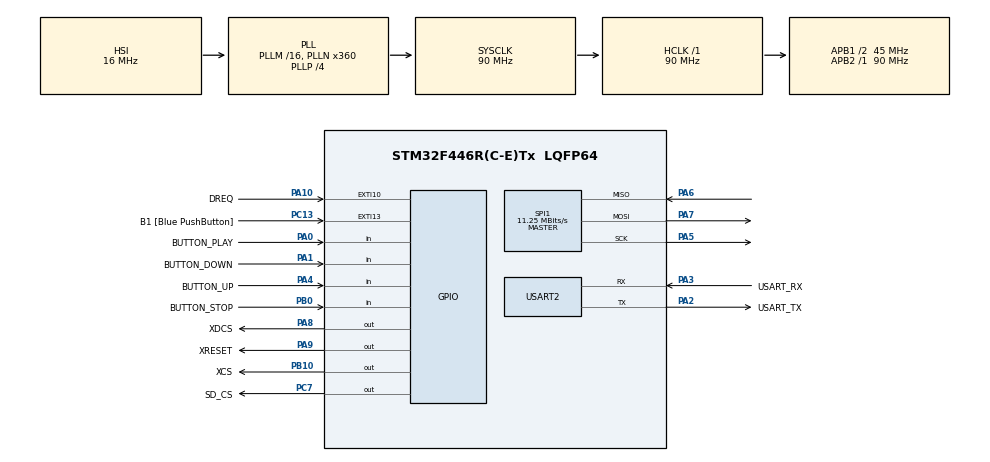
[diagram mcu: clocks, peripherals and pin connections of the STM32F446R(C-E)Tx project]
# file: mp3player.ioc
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FATFS._CODE_PAGE=949
Mcu.Family=STM32F4
Mcu.Name=STM32F446R(C-E)Tx
Mcu.Package=LQFP64
NVIC.EXTI15_10_IRQn=true\:0\:0\:false\:false\:true\:true\:true
NVIC.PriorityGroup=NVIC_PRIORITYGROUP_0
PA0-WKUP.GPIO_Label=BUTTON_PLAY
PA0-WKUP.Signal=GPIO_Input
PA1.GPIO_Label=BUTTON_DOWN
PA1.Signal=GPIO_Input
PA10.GPIO_Label=DREQ
PA10.GPIO_ModeDefaultEXTI=GPIO_MODE_IT_RISING_FALLING
PA10.Signal=GPXTI10
PA13.GPIO_Label=TMS
PA13.Signal=SYS_JTMS-SWDIO
PA14.GPIO_Label=TCK
PA14.Signal=SYS_JTCK-SWCLK
PA2.GPIO_Label=USART_TX
PA2.Mode=Asynchronous
PA2.Signal=USART2_TX
PA3.GPIO_Label=USART_RX
PA3.Mode=Asynchronous
PA3.Signal=USART2_RX
PA4.GPIO_Label=BUTTON_UP
PA4.Signal=GPIO_Input
PA5.Mode=Full_Duplex_Master
PA5.Signal=SPI1_SCK
PA6.Mode=Full_Duplex_Master
PA6.Signal=SPI1_MISO
PA7.Mode=Full_Duplex_Master
PA7.Signal=SPI1_MOSI
PA8.GPIO_Label=XDCS
PA8.Signal=GPIO_Output
PA9.GPIO_Label=XRESET
PA9.Signal=GPIO_Output
PB0.GPIO_Label=BUTTON_STOP
PB0.Signal=GPIO_Input
PB10.GPIO_Label=XCS
PB10.Signal=GPIO_Output
PB3.GPIO_Label=SWO
PB3.Signal=SYS_JTDO-SWO
PC13.GPIO_Label=B1 [Blue PushButton]
PC13.GPIO_ModeDefaultEXTI=GPIO_MODE_IT_FALLING
PC13.Signal=GPXTI13
PC14-OSC32_IN.Signal=RCC_OSC32_IN
PC15-OSC32_OUT.Signal=RCC_OSC32_OUT
PC7.GPIO_Label=SD_CS
PC7.PinState=GPIO_PIN_SET
PC7.Signal=GPIO_Output
PH0-OSC_IN.Signal=RCC_OSC_IN
PH1-OSC_OUT.Signal=RCC_OSC_OUT
ProjectManager.HeapSize=0x200
ProjectManager.StackSize=0x400
ProjectManager.TargetToolchain=STM32CubeIDE
RCC.AHBFreq_Value=90000000
RCC.APB1CLKDivider=RCC_HCLK_DIV2
RCC.APB1Freq_Value=45000000
RCC.APB1TimFreq_Value=90000000
RCC.APB2Freq_Value=90000000
RCC.APB2TimFreq_Value=90000000
RCC.CortexFreq_Value=90000000
RCC.FLatency-AdvancedSettings=FLASH_LATENCY_2
RCC.HCLKFreq_Value=90000000
RCC.HSE_VALUE=8000000
RCC.HSI_VALUE=16000000
RCC.LSE_VALUE=32768
RCC.PLLN=360
RCC.PLLP=RCC_PLLP_DIV4
RCC.SYSCLKFreq_VALUE=90000000
RCC.SYSCLKSource=RCC_SYSCLKSOURCE_PLLCLK
RCC.USBFreq_Value=180000000
RCC.VCOOutputFreq_Value=360000000
SPI1.BaudRatePrescaler=SPI_BAUDRATEPRESCALER_8
SPI1.CalculateBaudRate=11.25 MBits/s
SPI1.Direction=SPI_DIRECTION_2LINES
SPI1.Mode=SPI_MODE_MASTER
SPI1.VirtualType=VM_MASTER
USART2.VirtualMode=VM_ASYNC
VP_FATFS_VS_Generic.Mode=User_defined
board=NUCLEO-F446RE

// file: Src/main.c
/* USER CODE BEGIN Header */
/**
  ******************************************************************************
  * @file           : main.c
  * @brief          : Main program body
  ******************************************************************************
  * @attention
  *
  * <h2><center>&copy; Copyright (c) 2019 STMicroelectronics.
  * All rights reserved.</center></h2>
  *
  * This software component is licensed by ST under BSD 3-Clause license,
  * the "License"; You may not use this file except in compliance with the
  * License. You may obtain a copy of the License at:
  *                        opensource.org/licenses/BSD-3-Clause
  *
  ******************************************************************************
  */
/* USER CODE END Header */

#include "main.h"
#include "fatfs.h"

/* USER CODE BEGIN Includes */
#define U8X8_USE_PINS
#include "u8g2.h"
#include "filemanager.h"
#include "player.h"
/* USER CODE END Includes */

/* USER CODE BEGIN PM */
//#define BUTTON_PLAY     A0
//#define BUTTON_DOWN     A1
//#define BUTTON_UP       A2
//#define BUTTON_STOP     A3
/* USER CODE END PM */

SPI_HandleTypeDef hspi1;

UART_HandleTypeDef huart2;

/* USER CODE BEGIN PV */
/* Private variables ---------------------------------------------------------*/
FATFS fs;

typedef enum {
  FILE_MODE,
  PLAY_MODE
} run_state;

u8g2_t u8g2;

DIR curDir;
uint8_t curSel = 1;
char title[31], album[31], artist[31];
char title8[40], album8[40], artist8[40];
int tlen, txpos=128;
int sec, seconds;
unsigned long timeVal;
char timebuf[10]="00:00";
run_state rstate = FILE_MODE;
int volume = 50;

/* USER CODE END PV */

void SystemClock_Config(void);
static void MX_GPIO_Init(void);
static void MX_SPI1_Init(void);
static void MX_USART2_UART_Init(void);
/* USER CODE BEGIN PFP */
#ifdef __GNUC__
  /* With GCC/RAISONANCE, small printf (option LD Linker->Libraries->Small printf
     set to 'Yes') calls __io_putchar() */
  #define PUTCHAR_PROTOTYPE int __io_putchar(int ch)
#else
  #define PUTCHAR_PROTOTYPE int fputc(int ch, FILE *f)
#endif /* __GNUC__ */

uint8_t u8x8_gpio_and_delay_stm32_sw_i2c(u8x8_t *u8x8, uint8_t msg, uint8_t arg_int, void *arg_ptr);
/* USER CODE END PFP */

int main(void)
{

  /* MCU Configuration--------------------------------------------------------*/

  /* Reset of all peripherals, Initializes the Flash interface and the Systick. */
  HAL_Init();

  /* Configure the system clock */
  SystemClock_Config();

  /* Initialize all configured peripherals */
  MX_GPIO_Init();
  MX_SPI1_Init();
  MX_USART2_UART_Init();
  MX_FATFS_Init();
  /* USER CODE BEGIN 2 */

  /* Wait for SD module reset */
  HAL_Delay(500);

  /* Setup U8G2 for SSD1306 I2C Module */
  u8g2_Setup_ssd1306_i2c_128x64_noname_f(&u8g2, U8G2_R0, u8x8_byte_sw_i2c, u8x8_gpio_and_delay_stm32_sw_i2c);
  u8g2_InitDisplay(&u8g2);
  u8g2_SetPowerSave(&u8g2, 0);
  u8g2_SetMenuSelectPin(&u8g2, U8X8_PIN_MENU_SELECT);
  u8g2_SetMenuDownPin(&u8g2, U8X8_PIN_MENU_DOWN);
  u8g2_SetMenuUpPin(&u8g2, U8X8_PIN_MENU_UP);
  u8g2_SetMenuHomePin(&u8g2, U8X8_PIN_MENU_HOME);

  u8g2_SetFont(&u8g2, u8g2_font_unifont_t_korean2);
  //u8g2_SetFont(&u8g1, u8g2_font_unifont_t_korean_NanumGothicCoding_16);
  u8g2_SetFontDirection(&u8g2, 0);

  /* Initialize VS1053 MP3 Module */
  player_init();
  printf("VS1053 found\n");

  player_sinetest(0x44, 500);    // Make a tone to indicate VS1053 is working
  timeVal = HAL_GetTick();

  /* Mount SD Card */
  if(f_mount(&fs, "", 0) != FR_OK)
    Error_Handler();

  /* List files */
  f_opendir(&curDir, curDirPath);
  printDirectory(&curDir, 0);
  f_rewinddir(&curDir);

  /* Set volume for left, right channels. lower numbers == louder volume! */
  vs10xx_set_volume(volume);

  /* USER CODE END 2 */

  /* Infinite loop */
  while (1)
  {

    /* USER CODE BEGIN 3 */

    if (rstate == FILE_MODE) {
      /* When File Mode, display file list on OLED */
      int filecount = getFileList(&curDir);
      curSel = u8g2_UserInterfaceSelectionList(&u8g2, curDirPath, curSel, fileNameList);
      if (curSel == 0) { // Move to Prev/Up directory
        f_closedir(&curDir);
        char *last = strrchr(curDirPath, '/');
        if (last != NULL) last[last!=curDirPath?0:1] = '\0';
        f_opendir(&curDir, curDirPath);
      }
      else {
        /* Select a File */
        strcpy(curFilePath,curDirPath);
        if (strcmp(curFilePath, "/"))
          strcat(curFilePath,"/");
        strcat(curFilePath,fileList[curSel-1]);

        FILINFO finfo;
        f_stat(curFilePath, &finfo);
        if (finfo.fattrib & AM_DIR) { // Go to the subdirectory
          f_closedir(&curDir);
          strcpy(curDirPath, curFilePath);
          f_opendir(&curDir, curDirPath);
          curSel = 1;
        } else {
          /* Select the mp3 file and change to play mode */
          if (strstr(finfo.fname, ".mp3") || strstr(finfo.fname, ".MP3")) {
            FIL curFile;
            f_open(&curFile, finfo.fname, FA_READ);
            getID3(&curFile, title, artist, album);
            ucs_to_utf8(title, title8);
            ucs_to_utf8(artist, artist8);
            ucs_to_utf8(album, album8);
            tlen = strlen(title8);
            seconds = getMP3Info(&curFile);
            printf("%s %s %s\n", title8, artist8, album8);
            printf("%d...\n", seconds);
            f_close(&curFile);
            player_play(curFilePath);
            rstate = PLAY_MODE;
            sec = 0;
          }
        }
      }
      HAL_Delay(100);
    }

    else {
      /* When Play Mode, The File is playing in the background */
      if (HAL_GetTick() - timeVal >= 1000) {
        sec++;
        sprintf(timebuf,"%02d:%02d", sec/60, sec%60);
        timeVal = HAL_GetTick();
      }
      if (playerState == PS_PAUSE)
        timeVal = HAL_GetTick();

      /* Display artist, album, song title on OLED */
      txpos = (txpos+tlen*8>0)?txpos-5:128;
      u8g2_FirstPage(&u8g2);
      do {
        u8g2_DrawUTF8(&u8g2, 0, 15, "Playing...");
        u8g2_DrawUTF8(&u8g2, 0, 30, artist8);
        u8g2_DrawUTF8(&u8g2, 60, 30, album8);
        u8g2_DrawUTF8(&u8g2, txpos, 45, title8);
        u8g2_DrawRFrame(&u8g2, 0,50,80,10,1);
        u8g2_DrawBox(&u8g2, 0,50,(80.0*sec/seconds),10);
        u8g2_DrawUTF8(&u8g2, 84, 60, timebuf);
      } while ( u8g2_NextPage(&u8g2) );

      if (playerState == PS_STOP) {
        printf("Done playing music\n");
        HAL_Delay(10);  // we're done! do nothing...
        rstate = FILE_MODE;
      }

      /* if we get BUTTON_STOP, stop! */
      if (!HAL_GPIO_ReadPin(BUTTON_STOP_GPIO_Port, BUTTON_STOP_Pin)) {
        player_stop();
        rstate = FILE_MODE;
      }

      /* if we get BUTTON_PLAY, pause/unpause! */
      if (!HAL_GPIO_ReadPin(BUTTON_PLAY_GPIO_Port, BUTTON_PLAY_Pin)) {
        if (playerState == PS_PLAY) {
          printf("Paused\n");
          player_pause(TRUE);
        } else if (playerState == PS_PAUSE) {
          printf("Resumed\n");
          player_pause(FALSE);
        }
      }

      /* if we get BUTTON_UP, volume up! */
      if (!HAL_GPIO_ReadPin(BUTTON_UP_GPIO_Port, BUTTON_UP_Pin)) {
        // Set volume for left, right channels. lower numbers == louder volume!
        volume -= 5;
        if (volume < 0) volume = 0;
        vs10xx_set_volume(volume);
      }

      /* if we get BUTTON_DOWN, volume down! */
      if (!HAL_GPIO_ReadPin(BUTTON_DOWN_GPIO_Port, BUTTON_DOWN_Pin)) {
        // Set volume for left, right channels. lower numbers == louder volume!
        volume += 5;
        if (volume > 100) volume = 100;
        vs10xx_set_volume(volume);
      }
      HAL_Delay(100);
    }

  }
  /* USER CODE END 3 */
}

void SystemClock_Config(void)
{
  RCC_OscInitTypeDef RCC_OscInitStruct = {0};
  RCC_ClkInitTypeDef RCC_ClkInitStruct = {0};

  /** Configure the main internal regulator output voltage
  */
  __HAL_RCC_PWR_CLK_ENABLE();
  __HAL_PWR_VOLTAGESCALING_CONFIG(PWR_REGULATOR_VOLTAGE_SCALE3);
  /** Initializes the CPU, AHB and APB busses clocks
  */
  RCC_OscInitStruct.OscillatorType = RCC_OSCILLATORTYPE_HSI;
  RCC_OscInitStruct.HSIState = RCC_HSI_ON;
  RCC_OscInitStruct.HSICalibrationValue = RCC_HSICALIBRATION_DEFAULT;
  RCC_OscInitStruct.PLL.PLLState = RCC_PLL_ON;
  RCC_OscInitStruct.PLL.PLLSource = RCC_PLLSOURCE_HSI;
  RCC_OscInitStruct.PLL.PLLM = 16;
  RCC_OscInitStruct.PLL.PLLN = 360;
  RCC_OscInitStruct.PLL.PLLP = RCC_PLLP_DIV4;
  RCC_OscInitStruct.PLL.PLLQ = 2;
  RCC_OscInitStruct.PLL.PLLR = 2;
  if (HAL_RCC_OscConfig(&RCC_OscInitStruct) != HAL_OK)
  {
    Error_Handler();
  }
  /** Initializes the CPU, AHB and APB busses clocks
  */
  RCC_ClkInitStruct.ClockType = RCC_CLOCKTYPE_HCLK|RCC_CLOCKTYPE_SYSCLK
                              |RCC_CLOCKTYPE_PCLK1|RCC_CLOCKTYPE_PCLK2;
  RCC_ClkInitStruct.SYSCLKSource = RCC_SYSCLKSOURCE_PLLCLK;
  RCC_ClkInitStruct.AHBCLKDivider = RCC_SYSCLK_DIV1;
  RCC_ClkInitStruct.APB1CLKDivider = RCC_HCLK_DIV2;
  RCC_ClkInitStruct.APB2CLKDivider = RCC_HCLK_DIV1;

  if (HAL_RCC_ClockConfig(&RCC_ClkInitStruct, FLASH_LATENCY_2) != HAL_OK)
  {
    Error_Handler();
  }
}

static void MX_SPI1_Init(void)
{

  /* SPI1 parameter configuration*/
  hspi1.Instance = SPI1;
  hspi1.Init.Mode = SPI_MODE_MASTER;
  hspi1.Init.Direction = SPI_DIRECTION_2LINES;
  hspi1.Init.DataSize = SPI_DATASIZE_8BIT;
  hspi1.Init.CLKPolarity = SPI_POLARITY_LOW;
  hspi1.Init.CLKPhase = SPI_PHASE_1EDGE;
  hspi1.Init.NSS = SPI_NSS_SOFT;
  hspi1.Init.BaudRatePrescaler = SPI_BAUDRATEPRESCALER_8;
  hspi1.Init.FirstBit = SPI_FIRSTBIT_MSB;
  hspi1.Init.TIMode = SPI_TIMODE_DISABLE;
  hspi1.Init.CRCCalculation = SPI_CRCCALCULATION_DISABLE;
  hspi1.Init.CRCPolynomial = 10;
  if (HAL_SPI_Init(&hspi1) != HAL_OK)
  {
    Error_Handler();
  }

}

static void MX_USART2_UART_Init(void)
{

  huart2.Instance = USART2;
  huart2.Init.BaudRate = 115200;
  huart2.Init.WordLength = UART_WORDLENGTH_8B;
  huart2.Init.StopBits = UART_STOPBITS_1;
  huart2.Init.Parity = UART_PARITY_NONE;
  huart2.Init.Mode = UART_MODE_TX_RX;
  huart2.Init.HwFlowCtl = UART_HWCONTROL_NONE;
  huart2.Init.OverSampling = UART_OVERSAMPLING_16;
  if (HAL_UART_Init(&huart2) != HAL_OK)
  {
    Error_Handler();
  }

}

static void MX_GPIO_Init(void)
{
  GPIO_InitTypeDef GPIO_InitStruct = {0};

  /* GPIO Ports Clock Enable */
  __HAL_RCC_GPIOC_CLK_ENABLE();
  __HAL_RCC_GPIOH_CLK_ENABLE();
  __HAL_RCC_GPIOA_CLK_ENABLE();
  __HAL_RCC_GPIOB_CLK_ENABLE();

  /*Configure GPIO pin Output Level */
  HAL_GPIO_WritePin(XCS_GPIO_Port, XCS_Pin, GPIO_PIN_RESET);

  /*Configure GPIO pin Output Level */
  HAL_GPIO_WritePin(SD_CS_GPIO_Port, SD_CS_Pin, GPIO_PIN_SET);

  /*Configure GPIO pin Output Level */
  HAL_GPIO_WritePin(GPIOA, XDCS_Pin|XRESET_Pin, GPIO_PIN_RESET);

  /*Configure GPIO pin : B1_Pin */
  GPIO_InitStruct.Pin = B1_Pin;
  GPIO_InitStruct.Mode = GPIO_MODE_IT_FALLING;
  GPIO_InitStruct.Pull = GPIO_NOPULL;
  HAL_GPIO_Init(B1_GPIO_Port, &GPIO_InitStruct);

  /*Configure GPIO pins : BUTTON_PLAY_Pin BUTTON_DOWN_Pin BUTTON_UP_Pin */
  GPIO_InitStruct.Pin = BUTTON_PLAY_Pin|BUTTON_DOWN_Pin|BUTTON_UP_Pin;
  GPIO_InitStruct.Mode = GPIO_MODE_INPUT;
  GPIO_InitStruct.Pull = GPIO_NOPULL;
  HAL_GPIO_Init(GPIOA, &GPIO_InitStruct);

  /*Configure GPIO pin : BUTTON_STOP_Pin */
  GPIO_InitStruct.Pin = BUTTON_STOP_Pin;
  GPIO_InitStruct.Mode = GPIO_MODE_INPUT;
  GPIO_InitStruct.Pull = GPIO_NOPULL;
  HAL_GPIO_Init(BUTTON_STOP_GPIO_Port, &GPIO_InitStruct);

  /*Configure GPIO pin : XCS_Pin */
  GPIO_InitStruct.Pin = XCS_Pin;
  GPIO_InitStruct.Mode = GPIO_MODE_OUTPUT_PP;
  GPIO_InitStruct.Pull = GPIO_NOPULL;
  GPIO_InitStruct.Speed = GPIO_SPEED_FREQ_LOW;
  HAL_GPIO_Init(XCS_GPIO_Port, &GPIO_InitStruct);

  /*Configure GPIO pin : SD_CS_Pin */
  GPIO_InitStruct.Pin = SD_CS_Pin;
  GPIO_InitStruct.Mode = GPIO_MODE_OUTPUT_PP;
  GPIO_InitStruct.Pull = GPIO_NOPULL;
  GPIO_InitStruct.Speed = GPIO_SPEED_FREQ_LOW;
  HAL_GPIO_Init(SD_CS_GPIO_Port, &GPIO_InitStruct);

  /*Configure GPIO pins : XDCS_Pin XRESET_Pin */
  GPIO_InitStruct.Pin = XDCS_Pin|XRESET_Pin;
  GPIO_InitStruct.Mode = GPIO_MODE_OUTPUT_PP;
  GPIO_InitStruct.Pull = GPIO_NOPULL;
  GPIO_InitStruct.Speed = GPIO_SPEED_FREQ_LOW;
  HAL_GPIO_Init(GPIOA, &GPIO_InitStruct);

  /*Configure GPIO pin : DREQ_Pin */
  GPIO_InitStruct.Pin = DREQ_Pin;
  GPIO_InitStruct.Mode = GPIO_MODE_IT_RISING_FALLING;
  GPIO_InitStruct.Pull = GPIO_NOPULL;
  HAL_GPIO_Init(DREQ_GPIO_Port, &GPIO_InitStruct);

  /* EXTI interrupt init*/
  HAL_NVIC_SetPriority(EXTI15_10_IRQn, 0, 0);
  HAL_NVIC_EnableIRQ(EXTI15_10_IRQn);

}

/* USER CODE BEGIN 4 */
/**
  * @brief  Retargets the C library printf function to the USART.
  * @param  None
  * @retval None
  */
PUTCHAR_PROTOTYPE
{
  /* Place your implementation of fputc here */
  /* e.g. write a character to the EVAL_COM1 and Loop until the end of transmission */
  HAL_UART_Transmit(&huart2, (uint8_t *)&ch, 1, 0xFFFF);

  return ch;
}

void HAL_GPIO_EXTI_Callback(uint16_t GPIO_Pin)
{
    /* If mp3 buffer is ready for data, feed data */
    if (GPIO_Pin == DREQ_Pin) {
        player_feedbuffer();
    }
}

/* USER CODE END 4 */

void Error_Handler(void)
{
}

/************************ (C) COPYRIGHT STMicroelectronics *****END OF FILE****/
